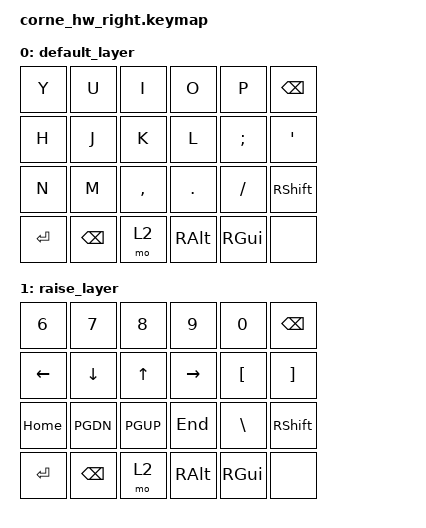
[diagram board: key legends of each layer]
#include <behaviors.dtsi>
#include <dt-bindings/zmk/keys.h>
#include <dt-bindings/zmk/bt.h>

/ {
    keymap {
        compatible = "zmk,keymap";

        default_layer {
            bindings = <
                &kp Y  &kp U  &kp I  &kp O  &kp P     &kp BSPC
                &kp H  &kp J  &kp K  &kp L  &kp SEMI  &kp SQT
                &kp N  &kp M  &kp COMMA &kp DOT &kp FSLH &kp RSHFT
                &kp RET  &kp BSPC  &mo 2  &kp RALT  &kp RGUI  &none
            >;
        };

        raise_layer {
            bindings = <
                &kp N6  &kp N7  &kp N8  &kp N9  &kp N0  &kp BSPC
                &kp LEFT &kp DOWN &kp UP &kp RIGHT &kp LBKT &kp RBKT
                &kp HOME &kp PGDN &kp PGUP &kp END &kp BSLH &kp RSHFT
                &kp RET  &kp BSPC  &mo 2  &kp RALT  &kp RGUI  &none
            >;
        };
    };
};
